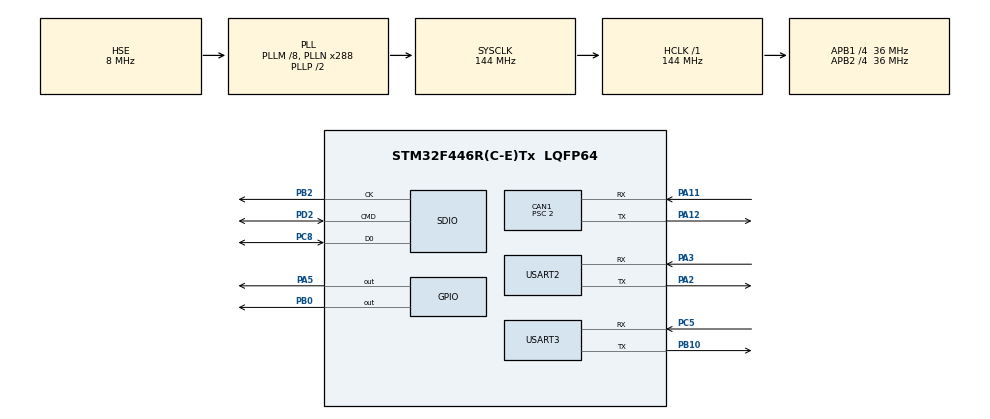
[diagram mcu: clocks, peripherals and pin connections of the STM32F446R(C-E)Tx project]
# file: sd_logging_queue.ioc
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CAN1.BS1=CAN_BS1_12TQ
CAN1.BS2=CAN_BS2_5TQ
CAN1.CalculateTimeQuantum=55.55555555555556
CAN1.Prescaler=2
Dma.Request0=SDIO_RX
Dma.Request1=SDIO_TX
Dma.SDIO_RX.0.Direction=DMA_PERIPH_TO_MEMORY
Dma.SDIO_RX.0.FIFOMode=DMA_FIFOMODE_ENABLE
Dma.SDIO_RX.0.FIFOThreshold=DMA_FIFO_THRESHOLD_FULL
Dma.SDIO_RX.0.Instance=DMA2_Stream3
Dma.SDIO_RX.0.MemBurst=DMA_MBURST_INC4
Dma.SDIO_RX.0.MemDataAlignment=DMA_MDATAALIGN_WORD
Dma.SDIO_RX.0.MemInc=DMA_MINC_ENABLE
Dma.SDIO_RX.0.Mode=DMA_PFCTRL
Dma.SDIO_RX.0.PeriphBurst=DMA_PBURST_INC4
Dma.SDIO_RX.0.PeriphDataAlignment=DMA_PDATAALIGN_WORD
Dma.SDIO_RX.0.PeriphInc=DMA_PINC_DISABLE
Dma.SDIO_RX.0.Priority=DMA_PRIORITY_LOW
Dma.SDIO_TX.1.Direction=DMA_MEMORY_TO_PERIPH
Dma.SDIO_TX.1.FIFOMode=DMA_FIFOMODE_ENABLE
Dma.SDIO_TX.1.FIFOThreshold=DMA_FIFO_THRESHOLD_FULL
Dma.SDIO_TX.1.Instance=DMA2_Stream6
Dma.SDIO_TX.1.MemBurst=DMA_MBURST_INC4
Dma.SDIO_TX.1.MemDataAlignment=DMA_MDATAALIGN_WORD
Dma.SDIO_TX.1.MemInc=DMA_MINC_ENABLE
Dma.SDIO_TX.1.Mode=DMA_PFCTRL
Dma.SDIO_TX.1.PeriphBurst=DMA_PBURST_INC4
Dma.SDIO_TX.1.PeriphDataAlignment=DMA_PDATAALIGN_WORD
Dma.SDIO_TX.1.PeriphInc=DMA_PINC_DISABLE
Dma.SDIO_TX.1.Priority=DMA_PRIORITY_LOW
FATFS.USE_DMA_CODE_SD=1
Mcu.Family=STM32F4
Mcu.Name=STM32F446R(C-E)Tx
Mcu.Package=LQFP64
NVIC.CAN1_RX0_IRQn=true\:0\:0\:false\:true\:true\:1\:true
NVIC.CAN1_RX1_IRQn=true\:0\:0\:false\:true\:true\:2\:true
NVIC.CAN1_SCE_IRQn=true\:0\:0\:false\:true\:true\:3\:true
NVIC.DMA2_Stream3_IRQn=true\:0\:0\:false\:false\:true\:false
NVIC.DMA2_Stream6_IRQn=true\:0\:0\:false\:false\:true\:false
NVIC.PriorityGroup=NVIC_PRIORITYGROUP_4
NVIC.SDIO_IRQn=true\:0\:0\:false\:false\:true\:true
NVIC.TIM6_DAC_IRQn=true\:0\:0\:false\:true\:true\:4\:true
NVIC.TIM7_IRQn=true\:0\:0\:false\:true\:true\:5\:true
PA11.Mode=Master
PA11.Signal=CAN1_RX
PA12.Mode=Master
PA12.Signal=CAN1_TX
PA2.Mode=Asynchronous
PA2.Signal=USART2_TX
PA3.Mode=Asynchronous
PA3.Signal=USART2_RX
PA5.GPIO_PuPd=GPIO_PULLUP
PA5.Signal=GPIO_Output
PB0.GPIO_PuPd=GPIO_PULLUP
PB0.Signal=GPIO_Output
PB10.Mode=Asynchronous
PB10.Signal=USART3_TX
PB2.Mode=SD_1_bit
PB2.Signal=SDIO_CK
PC5.Mode=Asynchronous
PC5.Signal=USART3_RX
PC8.Mode=SD_1_bit
PC8.Signal=SDIO_D0
PD2.Mode=SD_1_bit
PD2.Signal=SDIO_CMD
PH0-OSC_IN.Mode=HSE-External-Clock-Source
PH0-OSC_IN.Signal=RCC_OSC_IN
PH1-OSC_OUT.Mode=HSE-External-Clock-Source
PH1-OSC_OUT.Signal=RCC_OSC_OUT
ProjectManager.HeapSize=0x2000
ProjectManager.StackSize=0x4000
ProjectManager.TargetToolchain=SW4STM32
RCC.AHBFreq_Value=144000000
RCC.APB1CLKDivider=RCC_HCLK_DIV4
RCC.APB1Freq_Value=36000000
RCC.APB1TimFreq_Value=72000000
RCC.APB2CLKDivider=RCC_HCLK_DIV4
RCC.APB2Freq_Value=36000000
RCC.APB2TimFreq_Value=72000000
RCC.CortexFreq_Value=144000000
RCC.HCLKFreq_Value=144000000
RCC.HSE_VALUE=8000000
RCC.PLLM=8
RCC.PLLN=288
RCC.PLLQ=8
RCC.PLLSourceVirtual=RCC_PLLSOURCE_HSE
RCC.SYSCLKFreq_VALUE=144000000
RCC.SYSCLKSource=RCC_SYSCLKSOURCE_PLLCLK
RCC.USBFreq_Value=36000000
RCC.VCOOutputFreq_Value=288000000
TIM6.Period=1000
TIM6.Prescaler=72
TIM7.Period=1999
TIM7.Prescaler=3600
USART2.VirtualMode=VM_ASYNC
USART3.VirtualMode=VM_ASYNC
VP_FATFS_VS_SDIO.Mode=SDIO
VP_TIM6_VS_ClockSourceINT.Mode=Enable_Timer
VP_TIM7_VS_ClockSourceINT.Mode=Enable_Timer
board=Real_Antenna

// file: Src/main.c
/**
  ******************************************************************************
  * @file           : main.c
  * @brief          : Main program body
  ******************************************************************************
  * This notice applies to any and all portions of this file
  * that are not between comment pairs USER CODE BEGIN and
  * USER CODE END. Other portions of this file, whether
  * inserted by the user or by software development tools
  * are owned by their respective copyright owners.
  *
  * Copyright (c) 2018 STMicroelectronics International N.V.
  * All rights reserved.
  *
  * Redistribution and use in source and binary forms, with or without
  * modification, are permitted, provided that the following conditions are met:
  *
  * 1. Redistribution of source code must retain the above copyright notice,
  *    this list of conditions and the following disclaimer.
  * 2. Redistributions in binary form must reproduce the above copyright notice,
  *    this list of conditions and the following disclaimer in the documentation
  *    and/or other materials provided with the distribution.
  * 3. Neither the name of STMicroelectronics nor the names of other
  *    contributors to this software may be used to endorse or promote products
  *    derived from this software without specific written permission.
  * 4. This software, including modifications and/or derivative works of this
  *    software, must execute solely and exclusively on microcontroller or
  *    microprocessor devices manufactured by or for STMicroelectronics.
  * 5. Redistribution and use of this software other than as permitted under
  *    this license is void and will automatically terminate your rights under
  *    this license.
  *
  * THIS SOFTWARE IS PROVIDED BY STMICROELECTRONICS AND CONTRIBUTORS "AS IS"
  * AND ANY EXPRESS, IMPLIED OR STATUTORY WARRANTIES, INCLUDING, BUT NOT
  * LIMITED TO, THE IMPLIED WARRANTIES OF MERCHANTABILITY, FITNESS FOR A
  * PARTICULAR PURPOSE AND NON-INFRINGEMENT OF THIRD PARTY INTELLECTUAL PROPERTY
  * RIGHTS ARE DISCLAIMED TO THE FULLEST EXTENT PERMITTED BY LAW. IN NO EVENT
  * SHALL STMICROELECTRONICS OR CONTRIBUTORS BE LIABLE FOR ANY DIRECT, INDIRECT,
  * INCIDENTAL, SPECIAL, EXEMPLARY, OR CONSEQUENTIAL DAMAGES (INCLUDING, BUT NOT
  * LIMITED TO, PROCUREMENT OF SUBSTITUTE GOODS OR SERVICES; LOSS OF USE, DATA,
  * OR PROFITS; OR BUSINESS INTERRUPTION) HOWEVER CAUSED AND ON ANY THEORY OF
  * LIABILITY, WHETHER IN CONTRACT, STRICT LIABILITY, OR TORT (INCLUDING
  * NEGLIGENCE OR OTHERWISE) ARISING IN ANY WAY OUT OF THE USE OF THIS SOFTWARE,
  * EVEN IF ADVISED OF THE POSSIBILITY OF SUCH DAMAGE.
  *
  ******************************************************************************
  */
#include "main.h"
#include "stm32f4xx_hal.h"
#include "fatfs.h"

/* USER CODE BEGIN Includes */
#include "string.h"
#include "stdio.h"
#include "stdlib.h"
#include "inttypes.h"
/* USER CODE END Includes */

CAN_HandleTypeDef hcan1;

SD_HandleTypeDef hsd;
DMA_HandleTypeDef hdma_sdio_rx;
DMA_HandleTypeDef hdma_sdio_tx;

TIM_HandleTypeDef htim6;
TIM_HandleTypeDef htim7;

UART_HandleTypeDef huart2;
UART_HandleTypeDef huart3;

/* USER CODE BEGIN PV */
/* Private variables ---------------------------------------------------------*/
CAN_FilterTypeDef sFilter;
CAN_RxHeaderTypeDef RxHeader;

FIL loggingFile;
FIL log_names_f;

TCHAR message[256];

//static TIM_HandleTypeDef a_TimerInstance6 = {.Instance = TIM6};
//static TIM_HandleTypeDef a_TimerInstance7 = {.Instance = TIM7};

int secondsElapsed = 0;
int cont_rx=0;
//char messagesToWrite[200][256];
int time=0;
int printable_time = 0;
int byteswritten;
int delta;
char filename[256] = "abcabc.txt";
char filename_1[256]="log_names.txt";
char txt[1000];
int interrupt_flag = 0;
int max_files = 50;

int mount_ok = 0;
int msg_counter = 0;
int msg_index = 0;

char buffer[256]="Starting Antenna Logging\r\n";
int bytes_read;

char *pointer;
char log_names[1000];
FRESULT res_open;
FRESULT res_mount;
FRESULT closing_result = -1;
FRESULT open_result = -1;
int successfull_opening = 0;

// define queue array //
char queue[200][60];
int cont_queue=0;
int save_flag=0;
/* USER CODE END PV */

void SystemClock_Config(void);
static void MX_GPIO_Init(void);
static void MX_DMA_Init(void);
static void MX_USART3_UART_Init(void);
static void MX_SDIO_SD_Init(void);
static void MX_USART2_UART_Init(void);
static void MX_CAN1_Init(void);
static void MX_TIM6_Init(void);
static void MX_TIM7_Init(void);
static void MX_NVIC_Init(void);

/* USER CODE BEGIN PFP */
/* Private function prototypes -----------------------------------------------*/
void print(UART_HandleTypeDef *huart, char* text);
void init_sd();
int CAN_Receive(uint8_t *DataRx, int size);
/* USER CODE END PFP */

int main(void)
{

  /* MCU Configuration----------------------------------------------------------*/

  /* Reset of all peripherals, Initializes the Flash interface and the Systick. */
  HAL_Init();

  /* Configure the system clock */
  SystemClock_Config();

  /* Initialize all configured peripherals */
  MX_GPIO_Init();
  MX_DMA_Init();
  MX_USART3_UART_Init();
  MX_SDIO_SD_Init();
  MX_FATFS_Init();
  MX_USART2_UART_Init();
  MX_CAN1_Init();
  MX_TIM6_Init();
  MX_TIM7_Init();

  /* Initialize interrupts */
  MX_NVIC_Init();
  /* USER CODE BEGIN 2 */
  	sFilter.FilterMode = CAN_FILTERMODE_IDMASK;
  	sFilter.FilterIdLow = 0;
  	sFilter.FilterIdHigh = 0;
  	sFilter.FilterMaskIdHigh = 0;
  	sFilter.FilterMaskIdLow = 0;
  	sFilter.FilterFIFOAssignment = CAN_FILTER_FIFO0;
  	sFilter.FilterBank = 0;
  	sFilter.FilterScale  = CAN_FILTERSCALE_16BIT;
  	sFilter.FilterActivation = ENABLE;
  	HAL_CAN_ConfigFilter(&hcan1, &sFilter);

  	HAL_GPIO_TogglePin(GPIOB, GPIO_PIN_0);
  	HAL_Delay(500);
  	HAL_GPIO_TogglePin(GPIOB, GPIO_PIN_0);
  	HAL_Delay(500);

  	print(&huart2, "---mounting---\r\n");
  	res_mount = f_mount(&SDFatFS, (TCHAR const*)SDPath, 0);

  	HAL_Delay(10);

  	while(successfull_opening != 1){
  		init_sd();
  	}

  	HAL_CAN_Start(&hcan1);
  	HAL_CAN_ActivateNotification(&hcan1, CAN1_RX0_IRQn);
  	HAL_CAN_ActivateNotification(&hcan1, CAN1_RX1_IRQn);

  	print(&huart2, "Can Init Done\r\n");

  	HAL_TIM_Base_Start(&htim6);
  	HAL_TIM_Base_Start(&htim7);
  	HAL_TIM_Base_Start_IT(&htim6);
  	HAL_TIM_Base_Start_IT(&htim7);

  /* USER CODE END 2 */

  /* Infinite loop */
  /* USER CODE BEGIN WHILE */
  while (1)
  {
	  //int main=0;
	  HAL_GPIO_TogglePin(GPIOB, GPIO_PIN_0);
	  //print(&huart2,"while");
	  if(save_flag == 1){
		  save_flag=0;
		  //cont_queue=0;
		  //print(&huart2,"while");
		  print(&huart2, "try save... ");
		  for(int i=0;i<100;i++){
			  f_write(&loggingFile,queue[i],strlen(queue[i]),(void*)&byteswritten);
		  }
		  //while(closing_result != FR_OK){
			  closing_result = f_close(&loggingFile);
		  //}
		  //closing_result = -1;
		  //while(open_result != FR_OK){
			  f_open(&loggingFile, (TCHAR const*)&filename, FA_OPEN_APPEND | FA_OPEN_ALWAYS | FA_WRITE );
		 // }
		  //open_result = -1;
		  HAL_GPIO_TogglePin(GPIOB, GPIO_PIN_0);
		  print(&huart2, "saved\r\n\n");

	  }
  /* USER CODE END WHILE */

  }

}

void SystemClock_Config(void)
{

  RCC_OscInitTypeDef RCC_OscInitStruct;
  RCC_ClkInitTypeDef RCC_ClkInitStruct;
  RCC_PeriphCLKInitTypeDef PeriphClkInitStruct;

    /**Configure the main internal regulator output voltage
    */
  __HAL_RCC_PWR_CLK_ENABLE();

  __HAL_PWR_VOLTAGESCALING_CONFIG(PWR_REGULATOR_VOLTAGE_SCALE1);

    /**Initializes the CPU, AHB and APB busses clocks
    */
  RCC_OscInitStruct.OscillatorType = RCC_OSCILLATORTYPE_HSE;
  RCC_OscInitStruct.HSEState = RCC_HSE_BYPASS;
  RCC_OscInitStruct.PLL.PLLState = RCC_PLL_ON;
  RCC_OscInitStruct.PLL.PLLSource = RCC_PLLSOURCE_HSE;
  RCC_OscInitStruct.PLL.PLLM = 8;
  RCC_OscInitStruct.PLL.PLLN = 288;
  RCC_OscInitStruct.PLL.PLLP = RCC_PLLP_DIV2;
  RCC_OscInitStruct.PLL.PLLQ = 8;
  RCC_OscInitStruct.PLL.PLLR = 2;
  if (HAL_RCC_OscConfig(&RCC_OscInitStruct) != HAL_OK)
  {
    _Error_Handler(__FILE__, __LINE__);
  }

    /**Initializes the CPU, AHB and APB busses clocks
    */
  RCC_ClkInitStruct.ClockType = RCC_CLOCKTYPE_HCLK|RCC_CLOCKTYPE_SYSCLK
                              |RCC_CLOCKTYPE_PCLK1|RCC_CLOCKTYPE_PCLK2;
  RCC_ClkInitStruct.SYSCLKSource = RCC_SYSCLKSOURCE_PLLCLK;
  RCC_ClkInitStruct.AHBCLKDivider = RCC_SYSCLK_DIV1;
  RCC_ClkInitStruct.APB1CLKDivider = RCC_HCLK_DIV4;
  RCC_ClkInitStruct.APB2CLKDivider = RCC_HCLK_DIV4;

  if (HAL_RCC_ClockConfig(&RCC_ClkInitStruct, FLASH_LATENCY_4) != HAL_OK)
  {
    _Error_Handler(__FILE__, __LINE__);
  }

  PeriphClkInitStruct.PeriphClockSelection = RCC_PERIPHCLK_SDIO|RCC_PERIPHCLK_CLK48;
  PeriphClkInitStruct.Clk48ClockSelection = RCC_CLK48CLKSOURCE_PLLQ;
  PeriphClkInitStruct.SdioClockSelection = RCC_SDIOCLKSOURCE_CLK48;
  if (HAL_RCCEx_PeriphCLKConfig(&PeriphClkInitStruct) != HAL_OK)
  {
    _Error_Handler(__FILE__, __LINE__);
  }

    /**Configure the Systick interrupt time
    */
  HAL_SYSTICK_Config(HAL_RCC_GetHCLKFreq()/1000);

    /**Configure the Systick
    */
  HAL_SYSTICK_CLKSourceConfig(SYSTICK_CLKSOURCE_HCLK);

  /* SysTick_IRQn interrupt configuration */
  HAL_NVIC_SetPriority(SysTick_IRQn, 0, 0);
}

/**
  * @brief NVIC Configuration.
  * @retval None
  */
static void MX_NVIC_Init(void)
{
  /* CAN1_RX0_IRQn interrupt configuration */
  HAL_NVIC_SetPriority(CAN1_RX0_IRQn, 0, 0);
  HAL_NVIC_EnableIRQ(CAN1_RX0_IRQn);
  /* CAN1_RX1_IRQn interrupt configuration */
  HAL_NVIC_SetPriority(CAN1_RX1_IRQn, 0, 0);
  HAL_NVIC_EnableIRQ(CAN1_RX1_IRQn);
  /* CAN1_SCE_IRQn interrupt configuration */
  HAL_NVIC_SetPriority(CAN1_SCE_IRQn, 0, 0);
  HAL_NVIC_EnableIRQ(CAN1_SCE_IRQn);
  /* TIM6_DAC_IRQn interrupt configuration */
  HAL_NVIC_SetPriority(TIM6_DAC_IRQn, 0, 0);
  HAL_NVIC_EnableIRQ(TIM6_DAC_IRQn);
  /* TIM7_IRQn interrupt configuration */
  HAL_NVIC_SetPriority(TIM7_IRQn, 0, 0);
  HAL_NVIC_EnableIRQ(TIM7_IRQn);
}

/* CAN1 init function */
static void MX_CAN1_Init(void)
{

  hcan1.Instance = CAN1;
  hcan1.Init.Prescaler = 2;
  hcan1.Init.Mode = CAN_MODE_NORMAL;
  hcan1.Init.SyncJumpWidth = CAN_SJW_1TQ;
  hcan1.Init.TimeSeg1 = CAN_BS1_12TQ;
  hcan1.Init.TimeSeg2 = CAN_BS2_5TQ;
  hcan1.Init.TimeTriggeredMode = DISABLE;
  hcan1.Init.AutoBusOff = DISABLE;
  hcan1.Init.AutoWakeUp = DISABLE;
  hcan1.Init.AutoRetransmission = DISABLE;
  hcan1.Init.ReceiveFifoLocked = DISABLE;
  hcan1.Init.TransmitFifoPriority = DISABLE;
  if (HAL_CAN_Init(&hcan1) != HAL_OK)
  {
    _Error_Handler(__FILE__, __LINE__);
  }

}

/* SDIO init function */
static void MX_SDIO_SD_Init(void)
{

  hsd.Instance = SDIO;
  hsd.Init.ClockEdge = SDIO_CLOCK_EDGE_RISING;
  hsd.Init.ClockBypass = SDIO_CLOCK_BYPASS_DISABLE;
  hsd.Init.ClockPowerSave = SDIO_CLOCK_POWER_SAVE_DISABLE;
  hsd.Init.BusWide = SDIO_BUS_WIDE_1B;
  hsd.Init.HardwareFlowControl = SDIO_HARDWARE_FLOW_CONTROL_DISABLE;
  hsd.Init.ClockDiv = 0;

}

/* TIM6 init function */
static void MX_TIM6_Init(void)
{

  TIM_MasterConfigTypeDef sMasterConfig;

  htim6.Instance = TIM6;
  htim6.Init.Prescaler = 72;
  htim6.Init.CounterMode = TIM_COUNTERMODE_UP;
  htim6.Init.Period = 1000;
  if (HAL_TIM_Base_Init(&htim6) != HAL_OK)
  {
    _Error_Handler(__FILE__, __LINE__);
  }

  sMasterConfig.MasterOutputTrigger = TIM_TRGO_RESET;
  sMasterConfig.MasterSlaveMode = TIM_MASTERSLAVEMODE_DISABLE;
  if (HAL_TIMEx_MasterConfigSynchronization(&htim6, &sMasterConfig) != HAL_OK)
  {
    _Error_Handler(__FILE__, __LINE__);
  }

}

/* TIM7 init function */
static void MX_TIM7_Init(void)
{

  TIM_MasterConfigTypeDef sMasterConfig;

  htim7.Instance = TIM7;
  htim7.Init.Prescaler = 3600;
  htim7.Init.CounterMode = TIM_COUNTERMODE_UP;
  htim7.Init.Period = 1999;
  if (HAL_TIM_Base_Init(&htim7) != HAL_OK)
  {
    _Error_Handler(__FILE__, __LINE__);
  }

  sMasterConfig.MasterOutputTrigger = TIM_TRGO_RESET;
  sMasterConfig.MasterSlaveMode = TIM_MASTERSLAVEMODE_DISABLE;
  if (HAL_TIMEx_MasterConfigSynchronization(&htim7, &sMasterConfig) != HAL_OK)
  {
    _Error_Handler(__FILE__, __LINE__);
  }

}

/* USART2 init function */
static void MX_USART2_UART_Init(void)
{

  huart2.Instance = USART2;
  huart2.Init.BaudRate = 115200;
  huart2.Init.WordLength = UART_WORDLENGTH_8B;
  huart2.Init.StopBits = UART_STOPBITS_1;
  huart2.Init.Parity = UART_PARITY_NONE;
  huart2.Init.Mode = UART_MODE_TX_RX;
  huart2.Init.HwFlowCtl = UART_HWCONTROL_NONE;
  huart2.Init.OverSampling = UART_OVERSAMPLING_16;
  if (HAL_UART_Init(&huart2) != HAL_OK)
  {
    _Error_Handler(__FILE__, __LINE__);
  }

}

/* USART3 init function */
static void MX_USART3_UART_Init(void)
{

  huart3.Instance = USART3;
  huart3.Init.BaudRate = 115200;
  huart3.Init.WordLength = UART_WORDLENGTH_8B;
  huart3.Init.StopBits = UART_STOPBITS_1;
  huart3.Init.Parity = UART_PARITY_NONE;
  huart3.Init.Mode = UART_MODE_TX_RX;
  huart3.Init.HwFlowCtl = UART_HWCONTROL_NONE;
  huart3.Init.OverSampling = UART_OVERSAMPLING_16;
  if (HAL_UART_Init(&huart3) != HAL_OK)
  {
    _Error_Handler(__FILE__, __LINE__);
  }

}

static void MX_DMA_Init(void)
{
  /* DMA controller clock enable */
  __HAL_RCC_DMA2_CLK_ENABLE();

  /* DMA interrupt init */
  /* DMA2_Stream3_IRQn interrupt configuration */
  HAL_NVIC_SetPriority(DMA2_Stream3_IRQn, 0, 0);
  HAL_NVIC_EnableIRQ(DMA2_Stream3_IRQn);
  /* DMA2_Stream6_IRQn interrupt configuration */
  HAL_NVIC_SetPriority(DMA2_Stream6_IRQn, 0, 0);
  HAL_NVIC_EnableIRQ(DMA2_Stream6_IRQn);

}

/** Configure pins as
        * Analog
        * Input
        * Output
        * EVENT_OUT
        * EXTI
*/
static void MX_GPIO_Init(void)
{

  GPIO_InitTypeDef GPIO_InitStruct;

  /* GPIO Ports Clock Enable */
  __HAL_RCC_GPIOH_CLK_ENABLE();
  __HAL_RCC_GPIOA_CLK_ENABLE();
  __HAL_RCC_GPIOC_CLK_ENABLE();
  __HAL_RCC_GPIOB_CLK_ENABLE();
  __HAL_RCC_GPIOD_CLK_ENABLE();

  /*Configure GPIO pin Output Level */
  HAL_GPIO_WritePin(GPIOA, GPIO_PIN_5, GPIO_PIN_RESET);

  /*Configure GPIO pin Output Level */
  HAL_GPIO_WritePin(GPIOB, GPIO_PIN_0, GPIO_PIN_RESET);

  /*Configure GPIO pin : PA5 */
  GPIO_InitStruct.Pin = GPIO_PIN_5;
  GPIO_InitStruct.Mode = GPIO_MODE_OUTPUT_PP;
  GPIO_InitStruct.Pull = GPIO_PULLUP;
  GPIO_InitStruct.Speed = GPIO_SPEED_FREQ_LOW;
  HAL_GPIO_Init(GPIOA, &GPIO_InitStruct);

  /*Configure GPIO pin : PB0 */
  GPIO_InitStruct.Pin = GPIO_PIN_0;
  GPIO_InitStruct.Mode = GPIO_MODE_OUTPUT_PP;
  GPIO_InitStruct.Pull = GPIO_PULLUP;
  GPIO_InitStruct.Speed = GPIO_SPEED_FREQ_LOW;
  HAL_GPIO_Init(GPIOB, &GPIO_InitStruct);

}

/* USER CODE BEGIN 4 */
void init_sd(){
	if(res_mount != FR_OK){
		print(&huart2, "---mounting---\r\n");
		res_mount = f_mount(&SDFatFS, (TCHAR const*)SDPath, 0);
	}
	if (res_mount == FR_OK) {
		sprintf(filename_1, "name.txt");
		res_open=f_open(&log_names_f, (TCHAR const*)&filename_1, FA_OPEN_ALWAYS | FA_READ | FA_WRITE );
		f_read(&log_names_f, log_names, 1000, (void*)&bytes_read);

		print(&huart2, "mounted, opened\r\n");

		//sprintf(txt, "%s\r\n", log_names);
		print(&huart2, log_names);

		char name[256];

		f_close(&log_names_f);
		f_open(&log_names_f, (TCHAR const*)&filename_1, FA_OPEN_APPEND | FA_OPEN_ALWAYS | FA_READ | FA_WRITE );

		for(int i = 0; i < max_files; i++){

			sprintf(name, "log_%d", i);

			pointer = strstr(log_names, name);

			if(i == max_files-1	){
				sprintf(filename,"default.txt");

				f_open(&loggingFile, (TCHAR const*)&filename, FA_OPEN_APPEND | FA_OPEN_ALWAYS | FA_READ | FA_WRITE );
				f_write(&loggingFile, buffer, strlen(buffer), (void*)&byteswritten);
				f_close(&loggingFile);
				f_open(&loggingFile, (TCHAR const*)&filename, FA_OPEN_APPEND | FA_OPEN_ALWAYS | FA_READ | FA_WRITE );

				print(&huart2, "created -> default.txt\r\n");

				successfull_opening = 1;

				break;
			}

			if(i == 0 && pointer == NULL){

				sprintf(filename, "log_0\r\n");

				f_write(&log_names_f, filename, strlen(filename), (void*)&byteswritten);
				f_close(&log_names_f);

				sprintf(filename, "Log_0.txt");

				f_open(&loggingFile, (TCHAR const*)&filename, FA_OPEN_APPEND | FA_OPEN_ALWAYS | FA_READ | FA_WRITE );
				f_write(&loggingFile, buffer, strlen(buffer), (void*)&byteswritten);
				f_close(&loggingFile);
				f_open(&loggingFile, (TCHAR const*)&filename, FA_OPEN_APPEND | FA_OPEN_ALWAYS | FA_READ | FA_WRITE );

				print(&huart2, "\r\ncreated -> Log_0\r\n");

				successfull_opening = 1;

				break;
			}
			if(pointer == NULL){
				sprintf(filename, "log_%d\r\n", i);

				f_write(&log_names_f, filename, strlen(filename), (void*)&byteswritten);
				f_close(&log_names_f);

				sprintf(filename, "Log_%d.txt", i);

				f_open(&loggingFile, (TCHAR const*)&filename, FA_OPEN_APPEND | FA_OPEN_ALWAYS | FA_READ | FA_WRITE );
				f_write(&loggingFile, buffer, strlen(buffer), (void*)&byteswritten);
				f_close(&loggingFile);
				f_open(&loggingFile, (TCHAR const*)&filename, FA_OPEN_APPEND | FA_OPEN_ALWAYS | FA_READ | FA_WRITE );

				print(&huart2, "\r\ncreated -> ");
				print(&huart2, filename);
				print(&huart2, "\r\n");

				successfull_opening = 1;

				break;
			}
		}

		mount_ok = 1;
		print(&huart2, "files closed\r\n");
	}else {
		mount_ok = 0;
		print(&huart2, "---failed---\r\n");
	}
}

void HAL_CAN_RxFifo0FullCallback(CAN_HandleTypeDef *hcan){
	//HAL_GPIO_TogglePin(GPIOB, GPIO_PIN_0);
	uint8_t RxData[8];
	int id;
	id=CAN_Receive(RxData, 8);
	//cont_rx++;
	//int time = secondsElapsed * 1000 + __HAL_TIM_GET_COUNTER(&htim6) / 20; //20 ticks for each millisecond
	//printable_time=time*1000+ __HAL_TIM_GET_COUNTER(&htim6);
	//delta=0;

	if(mount_ok == 1){
		//msg_index ++;
		printable_time = time*1000+ __HAL_TIM_GET_COUNTER(&htim6);
		//msg_counter ++;

		//sprintf(messagesToWrite[msg_index], "%d\t%d\t%u\t%u\t%u\t%u\t%u\t%u\t%u\t%u\r\n", printable_time, id, RxData[0], RxData[1], RxData[2], RxData[3], RxData[4], RxData[5], RxData[6], RxData[7]);
		sprintf(queue[cont_queue], "%d\t%d\t%u\t%u\t%u\t%u\t%u\t%u\t%u\t%u\r\n", printable_time, id, RxData[0], RxData[1], RxData[2], RxData[3], RxData[4], RxData[5], RxData[6], RxData[7]);
		/*sprintf(queue[cont_queue],"%d\t%d\t%u\t%u\t%u\t%u\t%u\t%u\t%u\t%u\r\n",
				printable_time, id,
				RxData[0], RxData[1], RxData[2], RxData[3],
				RxData[4], RxData[5], RxData[6], RxData[7]);*/
		cont_queue++;
		//print(&huart2,queue[cont_queue]);
		if(cont_queue>=100){
			//print(&huart2,queue[cont_queue-1]);
			//print(&huart2, "interrupt");
			save_flag=1;
			cont_queue=0;
		}

		//HAL_GPIO_TogglePin(GPIOB, GPIO_PIN_0);
	}
}

void print(UART_HandleTypeDef *huart, char* text){
  HAL_UART_Transmit(huart, (uint8_t*)text, strlen(text), 5);
  //HAL_UART_Transmit(huart, (uint8_t*)"\r\n", 2, 1);
}

int CAN_Receive(uint8_t *DataRx, int size){

	if (HAL_CAN_GetRxFifoFillLevel(&hcan1, CAN_RX_FIFO0) != 0){
		HAL_CAN_GetRxMessage(&hcan1, CAN_RX_FIFO0, &RxHeader, DataRx);
	}

	int id = RxHeader.StdId;

	return id;
}

void HAL_TIM_PeriodElapsedCallback(TIM_HandleTypeDef *htim){
	if(htim == &htim7){
		interrupt_flag = 1;
	}
}
/* USER CODE END 4 */

void _Error_Handler(char *file, int line)
{
  /* USER CODE BEGIN Error_Handler_Debug */
  /* User can add his own implementation to report the HAL error return state */
  while(1)
  {
	  HAL_Delay(500);
	  HAL_GPIO_TogglePin(GPIOB, GPIO_PIN_0);
	  HAL_Delay(2000);
	  HAL_GPIO_TogglePin(GPIOB, GPIO_PIN_0);
  }
  /* USER CODE END Error_Handler_Debug */
}

/************************ (C) COPYRIGHT STMicroelectronics *****END OF FILE****/
